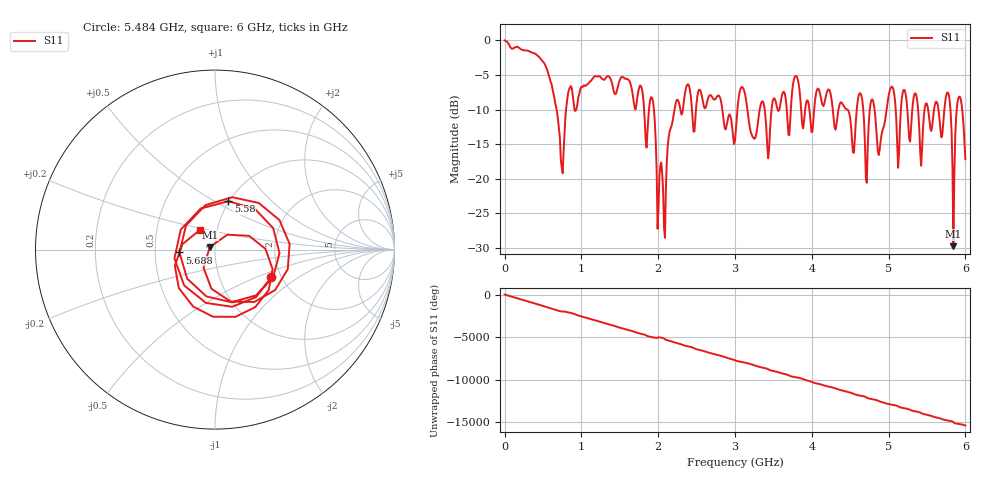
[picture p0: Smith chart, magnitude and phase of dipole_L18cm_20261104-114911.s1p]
! Dipole length 18 cm, measured 20261104-114911
# GHZ S RI R 50.000000000000
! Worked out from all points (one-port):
!   501 points, 1 MHz to 6 GHz, reference 50 ohm
!   lowest |S11| = -29.8 dB at 5.844 GHz (marker M1), VSWR 1.07, Z = 47.2 + j1.43 ohm
!   |S11| at or under -10 dB: 1.945 GHz to 2.214 GHz (268.3 MHz wide, 12.9 % of centre); 2.835 GHz to 3.032 GHz (196.5 MHz wide, 6.7 % of centre); 3.162 GHz to 3.323 GHz (160.6 MHz wide, 4.95 % of centre)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
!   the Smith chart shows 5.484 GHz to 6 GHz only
!   S11 on the Smith chart (normalised r, x): 5.484 GHz: 1.77, -0.63; 5.58 GHz: 0.99, +0.58; 5.688 GHz: 0.67, -0.02; 6 GHz: 0.82, +0.18
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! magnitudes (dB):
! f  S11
! 1 MHz  0.0
! 528.9 MHz  -3.6
! 756.9 MHz  -19.2
! 852.9 MHz  -6.8
! 1.501 GHz  -5.7
! 1.921 GHz  -8.3
! 1.993 GHz  -27.3
! 2.077 GHz  -27.1
! 2.257 GHz  -8.6
! 3.001 GHz  -14.6
! 3.084 GHz  -6.7
! 3.432 GHz  -17.1
! 3.756 GHz  -6.3
! 4.5 GHz  -11.3
! 4.632 GHz  -7.6
! 4.716 GHz  -20.6
! 4.788 GHz  -8.5
! 4.872 GHz  -16.6
! 5.04 GHz  -6.7
! 5.124 GHz  -18.4
! 5.256 GHz  -12.0
! 5.484 GHz  -9.1
! 5.58 GHz  -11.1
! 5.688 GHz  -14.0
! 5.784 GHz  -7.9
! 5.844 GHz  -29.8
! 5.916 GHz  -8.2
! 6 GHz  -17.2
